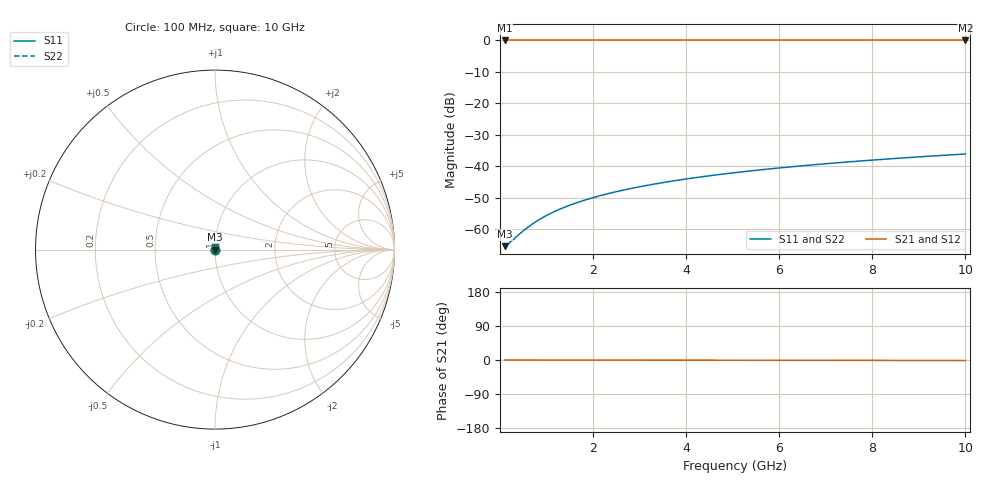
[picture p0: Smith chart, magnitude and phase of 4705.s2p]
# Hz S RI R 50.00
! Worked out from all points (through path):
!   100 points, 100 MHz to 10 GHz, reference 50 ohm
!   highest |S21| = 0.00 dB at 100 MHz (marker M1); lowest = 0.0 dB at 10 GHz (marker M2)
!   lowest |S11| = -65.4 dB at 100 MHz (marker M3), VSWR 1.00, Z = 50.1 + j0.0156 ohm
!   |S11| at or under -10 dB: start of sweep to end of sweep
!   |S22| runs from -65.4 to -36.1 dB; largest |S21 - S12| = 0
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1e8  0.000515 0.000156  0.9995 -0.000235  0.9995 -0.000235  0.000515 0.000156
2e8  0.000518 0.000313  0.9995 -0.00047  0.9995 -0.00047  0.000518 0.000313
5e8  0.000525 0.000782  0.9995 -0.00118  0.9995 -0.00118  0.000525 0.000782
6e8  0.000527 0.000938  0.9995 -0.00141  0.9995 -0.00141  0.000527 0.000938
7e8  0.000529 0.00109  0.9995 -0.00165  0.9995 -0.00165  0.000529 0.00109
9e8  0.000532 0.00141  0.9995 -0.00212  0.9995 -0.00212  0.000532 0.00141
1.1e9  0.000536 0.00172  0.9995 -0.00259  0.9995 -0.00259  0.000536 0.00172
1.3e9  0.00054 0.00203  0.9995 -0.00306  0.9995 -0.00306  0.00054 0.00203
1.5e9  0.000543 0.00234  0.9995 -0.00353  0.9995 -0.00353  0.000543 0.00234
1.8e9  0.000549 0.00281  0.9994 -0.00423  0.9994 -0.00423  0.000549 0.00281
2.1e9  0.000556 0.00328  0.9994 -0.00494  0.9994 -0.00494  0.000556 0.00328
2.5e9  0.000565 0.00391  0.9994 -0.00588  0.9994 -0.00588  0.000565 0.00391
2.9e9  0.000575 0.00453  0.9994 -0.00682  0.9994 -0.00682  0.000575 0.00453
3.4e9  0.000589 0.00532  0.9994 -0.008  0.9994 -0.008  0.000589 0.00532
3.8e9  0.000602 0.00594  0.9994 -0.00894  0.9994 -0.00894  0.000602 0.00594
4.2e9  0.000616 0.00657  0.9994 -0.00988  0.9994 -0.00988  0.000616 0.00657
5.1e9  0.000651 0.00798  0.9993 -0.012  0.9993 -0.012  0.000651 0.00798
5.9e9  0.000687 0.00923  0.9993 -0.0139  0.9993 -0.0139  0.000687 0.00923
6.7e9  0.000728 0.0105  0.9993 -0.0158  0.9993 -0.0158  0.000728 0.0105
7.5e9  0.000773 0.0117  0.9992 -0.0177  0.9992 -0.0177  0.000773 0.0117
8.4e9  0.00083 0.0131  0.9991 -0.0198  0.9991 -0.0198  0.00083 0.0131
1e10  0.000946 0.0157  0.999 -0.0236  0.999 -0.0236  0.000946 0.0157
